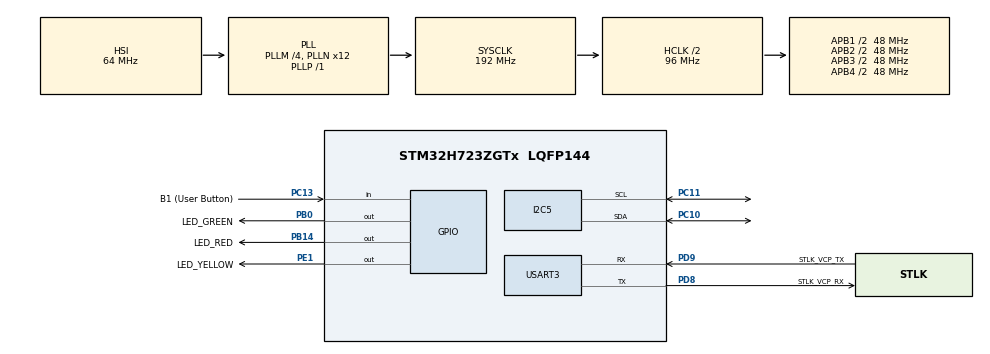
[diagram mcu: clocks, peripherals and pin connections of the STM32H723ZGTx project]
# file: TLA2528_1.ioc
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CORTEX_M7.default_mode_Activation=1
I2C5.Timing=0x20303E5D
Mcu.Family=STM32H7
Mcu.Name=STM32H723ZGTx
Mcu.Package=LQFP144
NVIC.I2C5_EV_IRQn=true\:0\:0\:false\:false\:true\:true\:true\:true
NVIC.PriorityGroup=NVIC_PRIORITYGROUP_4
PA13(JTMS/SWDIO).GPIO_Label=SWDIO
PA13(JTMS/SWDIO).Signal=DEBUG_JTMS-SWDIO
PA14(JTCK/SWCLK).GPIO_Label=SWCLK
PA14(JTCK/SWCLK).Signal=DEBUG_JTCK-SWCLK
PB0.GPIO_Label=LED_GREEN
PB0.Signal=GPIO_Output
PB14.GPIO_Label=LED_RED
PB14.Signal=GPIO_Output
PC10.GPIO_Pu=GPIO_PULLUP
PC10.Mode=I2C
PC10.Signal=I2C5_SDA
PC11.GPIO_Pu=GPIO_PULLUP
PC11.Mode=I2C
PC11.Signal=I2C5_SCL
PC13.GPIO_Label=B1 (User Button)
PC13.Signal=GPIO_Input
PC14-OSC32_IN.Signal=RCC_OSC32_IN
PC15-OSC32_OUT.Signal=RCC_OSC32_OUT
PD8.GPIO_Label=STLK_VCP_RX
PD8.Mode=Asynchronous
PD8.Signal=USART3_TX
PD9.GPIO_Label=STLK_VCP_TX
PD9.Mode=Asynchronous
PD9.Signal=USART3_RX
PE1.GPIO_Label=LED_YELLOW
PE1.Signal=GPIO_Output
ProjectManager.HeapSize=0x200
ProjectManager.StackSize=0x400
ProjectManager.TargetToolchain=STM32CubeIDE
RCC.ADCFreq_Value=608000000
RCC.APB1Freq_Value=48000000
RCC.APB2Freq_Value=48000000
RCC.APB3Freq_Value=48000000
RCC.APB4Freq_Value=48000000
RCC.CortexFreq_Value=192000000
RCC.D1PPRE=RCC_APB3_DIV2
RCC.D2PPRE1=RCC_APB1_DIV2
RCC.D2PPRE2=RCC_APB2_DIV2
RCC.D3PPRE=RCC_APB4_DIV2
RCC.DIVM1=4
RCC.DIVM2=1
RCC.DIVN1=12
RCC.DIVN2=19
RCC.DIVP1=1
RCC.DIVQ1=4
RCC.HCLKFreq_Value=96000000
RCC.HPRE=RCC_HCLK_DIV2
RCC.HSE_VALUE=8000000
RCC.PLLFRACN=0
RCC.SYSCLKFreq_VALUE=192000000
RCC.SYSCLKSource=RCC_SYSCLKSOURCE_PLLCLK
RCC.USBCLockSelection=RCC_USBCLKSOURCE_HSI48
RCC.USBFreq_Value=48000000
USART3.VirtualMode-Asynchronous=VM_ASYNC
VP_MEMORYMAP_VS_MEMORYMAP.Mode=CurAppReg
board=NUCLEO-H723ZG

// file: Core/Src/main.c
/* USER CODE BEGIN Header */
/**
 ******************************************************************************
 * @file           : main.c
 * @brief          : Main program body
 ******************************************************************************
 * @attention
 *
 * Copyright (c) 2025 STMicroelectronics.
 * All rights reserved.
 *
 * This software is licensed under terms that can be found in the LICENSE file
 * in the root directory of this software component.
 * If no LICENSE file comes with this software, it is provided AS-IS.
 *
 ******************************************************************************
 */
/* USER CODE END Header */
#include "main.h"
#include "stdio.h"
/* USER CODE BEGIN Includes */
#include "tla2528_lib.h"
#include "string.h"
/* USER CODE END Includes */

I2C_HandleTypeDef hi2c5;

UART_HandleTypeDef huart3;

/* USER CODE BEGIN PV */
int _write(int file, char *ptr, int len) {
	HAL_UART_Transmit(&huart3, (uint8_t*) ptr, len, HAL_MAX_DELAY);
	return len;
}
/* USER CODE END PV */

void SystemClock_Config(void);
static void MPU_Config(void);
static void MX_GPIO_Init(void);
static void MX_USART3_UART_Init(void);
static void MX_I2C5_Init(void);

/* USER CODE BEGIN 0 */
void check_i2c_connected(void) {
	if (HAL_I2C_IsDeviceReady(&hi2c5, 0x10 << 1, 3, HAL_MAX_DELAY) != HAL_OK) {
		printf("TLA2528 Not Found!\r\n");
	} else {
		printf("TLA2528 Detected!\r\n");
	}
}

void Print_Binary(uint8_t value) {
    for (int i = 7; i >= 0; i--) {
        printf("%d", (value >> i) & 1);
    }
}
void Read_Register_And_Print(uint8_t reg_address) {
    uint8_t reg_value = TLA2528_Read_Register(reg_address);  // อ่านค่าจากรีจิสเตอร์
    printf("Register 0x%02X Value: 0x%02X\n", reg_address, reg_value);
    printf("Binary Representation: ");
    Print_Binary(reg_value);
    printf("\n");
}
/* USER CODE END 0 */

int main(void) {

	/* MPU Configuration--------------------------------------------------------*/
	MPU_Config();

	/* MCU Configuration--------------------------------------------------------*/

	/* Reset of all peripherals, Initializes the Flash interface and the Systick. */
	HAL_Init();

	/* Configure the system clock */
	SystemClock_Config();

	/* Initialize all configured peripherals */
	MX_GPIO_Init();
	MX_USART3_UART_Init();
	MX_I2C5_Init();
	/* USER CODE BEGIN 2 */
	check_i2c_connected();
	HAL_Delay(1000);
	TLA2528_Init();
	//TLA2528_Reset_System();

	//HAL_Delay(6000);
	//TLA2528_Init();
	/* USER CODE END 2 */

	/* Infinite loop */
	/* USER CODE BEGIN WHILE */
	while (1) {

	   // Read_Register_And_Print(0x00);//(SYSTEM_STATUS)
//	    Read_Register_And_Print(GENERAL_CFG_ADDRESS); // GENERAL_CFG

//		  uint8_t reg_value = TLA2528_Read_Register(0x00);  // อ่านค่าจากรีจิสเตอร์ 0x00
//		    printf("Register 0x00 (SYSTEM_STATUS) Value: 0x%02X\n", reg_value);
//		    printf("Binary Representation: ");
//		    Print_Binary(reg_value);
//		    printf("\n");

		//uint8_t ch=0;
		//uint16_t adc_value = TLA2528_Read_Channel(ch);  // อ่านค่าช่อง 3
		//printf("AIN %X Value: %u\r\n", ch,adc_value);

		TLA2528_Read_All_Channels();  // อ่านค่าทุกช่อง

		/* USER CODE END WHILE */
		//uint8_t status1 = TLA2528_Read_System_Status();
		//TLA2528_Print_System_Status(status1);
		//uint8_t general_cfg_value = TLA2528_Read_Register(GENERAL_CFG_ADDRESS);
		//printf("GENERAL_CFG (binary): %08b\n", general_cfg_value);
		//uint8_t data_cfg = TLA2528_Read_Register(DATA_CFG_ADDRESS);
		//printf("Data CFG (binary): %08b\n", data_cfg);
		//uint8_t osr_value = TLA2528_Read_Register(OSR_CFG_ADDRESS);
		//uint8_t osr_bits = osr_value & OSR_MASK; // ดึงเฉพาะ 3 บิตล่างสุด
		//printf("OSR_CFG (binary): %08b\n", osr_value);
		//printf("Current OSR setting: %d\n", osr_bits);
		//uint8_t data_cfg = TLA2528_Read_Register(DATA_CFG_ADDRESS);
		//printf("Data CFG (binary): %08b\n", data_cfg);
		//uint8_t osr_ofg = TLA2528_Read_Register(OSR_CFG_ADDRESS);
		//printf("OSR CFG (binary): %08b\n", osr_ofg);
//		uint8_t OPMODE_CFG = TLA2528_Read_Register(OPMODE_CFG_ADDRESS);
//		printf("OPMODE_CFG (binary): %08b\n", OPMODE_CFG);
//		uint8_t PIN_CFG = TLA2528_Read_Register(PIN_CFG_ADDRESS);
//		printf("PIN_CFG: %08b\n", PIN_CFG);
//		uint8_t GPIO_CFG  = TLA2528_Read_Register(GPIO_CFG_ADDRESS);
//		printf("GPIO_CFG : %08b\n", GPIO_CFG );
//		uint8_t GPO_DRIVE_CFG = TLA2528_Read_Register(GPO_DRIVE_CFG_ADDRESS);
//		printf("GPO_DRIVE_CFG : %08b\n", GPO_DRIVE_CFG );
//		uint8_t GPO_VALUE  = TLA2528_Read_Register(GPO_VALUE_ADDRESS);
//		printf("GPO_VALUE : %08b\n", GPO_VALUE );
		HAL_Delay(1000);

	}
}

void SystemClock_Config(void) {
	RCC_OscInitTypeDef RCC_OscInitStruct = { 0 };
	RCC_ClkInitTypeDef RCC_ClkInitStruct = { 0 };

	/** Supply configuration update enable
	 */
	HAL_PWREx_ConfigSupply(PWR_LDO_SUPPLY);

	/** Configure the main internal regulator output voltage
	 */
	__HAL_PWR_VOLTAGESCALING_CONFIG(PWR_REGULATOR_VOLTAGE_SCALE2);

	while (!__HAL_PWR_GET_FLAG(PWR_FLAG_VOSRDY)) {
	}

	/** Initializes the RCC Oscillators according to the specified parameters
	 * in the RCC_OscInitTypeDef structure.
	 */
	RCC_OscInitStruct.OscillatorType = RCC_OSCILLATORTYPE_HSI;
	RCC_OscInitStruct.HSIState = RCC_HSI_DIV1;
	RCC_OscInitStruct.HSICalibrationValue = 64;
	RCC_OscInitStruct.PLL.PLLState = RCC_PLL_ON;
	RCC_OscInitStruct.PLL.PLLSource = RCC_PLLSOURCE_HSI;
	RCC_OscInitStruct.PLL.PLLM = 4;
	RCC_OscInitStruct.PLL.PLLN = 12;
	RCC_OscInitStruct.PLL.PLLP = 1;
	RCC_OscInitStruct.PLL.PLLQ = 4;
	RCC_OscInitStruct.PLL.PLLR = 2;
	RCC_OscInitStruct.PLL.PLLRGE = RCC_PLL1VCIRANGE_3;
	RCC_OscInitStruct.PLL.PLLVCOSEL = RCC_PLL1VCOWIDE;
	RCC_OscInitStruct.PLL.PLLFRACN = 0;
	if (HAL_RCC_OscConfig(&RCC_OscInitStruct) != HAL_OK) {
		Error_Handler();
	}

	/** Initializes the CPU, AHB and APB buses clocks
	 */
	RCC_ClkInitStruct.ClockType = RCC_CLOCKTYPE_HCLK | RCC_CLOCKTYPE_SYSCLK
			| RCC_CLOCKTYPE_PCLK1 | RCC_CLOCKTYPE_PCLK2 | RCC_CLOCKTYPE_D3PCLK1
			| RCC_CLOCKTYPE_D1PCLK1;
	RCC_ClkInitStruct.SYSCLKSource = RCC_SYSCLKSOURCE_PLLCLK;
	RCC_ClkInitStruct.SYSCLKDivider = RCC_SYSCLK_DIV1;
	RCC_ClkInitStruct.AHBCLKDivider = RCC_HCLK_DIV2;
	RCC_ClkInitStruct.APB3CLKDivider = RCC_APB3_DIV2;
	RCC_ClkInitStruct.APB1CLKDivider = RCC_APB1_DIV2;
	RCC_ClkInitStruct.APB2CLKDivider = RCC_APB2_DIV2;
	RCC_ClkInitStruct.APB4CLKDivider = RCC_APB4_DIV2;

	if (HAL_RCC_ClockConfig(&RCC_ClkInitStruct, FLASH_LATENCY_1) != HAL_OK) {
		Error_Handler();
	}
}

static void MX_I2C5_Init(void) {

	hi2c5.Instance = I2C5;
	hi2c5.Init.Timing = 0x20303E5D;
	hi2c5.Init.OwnAddress1 = 0;
	hi2c5.Init.AddressingMode = I2C_ADDRESSINGMODE_7BIT;
	hi2c5.Init.DualAddressMode = I2C_DUALADDRESS_DISABLE;
	hi2c5.Init.OwnAddress2 = 0;
	hi2c5.Init.OwnAddress2Masks = I2C_OA2_NOMASK;
	hi2c5.Init.GeneralCallMode = I2C_GENERALCALL_DISABLE;
	hi2c5.Init.NoStretchMode = I2C_NOSTRETCH_DISABLE;
	if (HAL_I2C_Init(&hi2c5) != HAL_OK) {
		Error_Handler();
	}

	/** Configure Analogue filter
	 */
	if (HAL_I2CEx_ConfigAnalogFilter(&hi2c5, I2C_ANALOGFILTER_ENABLE)
			!= HAL_OK) {
		Error_Handler();
	}

	/** Configure Digital filter
	 */
	if (HAL_I2CEx_ConfigDigitalFilter(&hi2c5, 0) != HAL_OK) {
		Error_Handler();
	}

}

static void MX_USART3_UART_Init(void) {

	huart3.Instance = USART3;
	huart3.Init.BaudRate = 115200;
	huart3.Init.WordLength = UART_WORDLENGTH_8B;
	huart3.Init.StopBits = UART_STOPBITS_1;
	huart3.Init.Parity = UART_PARITY_NONE;
	huart3.Init.Mode = UART_MODE_TX_RX;
	huart3.Init.HwFlowCtl = UART_HWCONTROL_NONE;
	huart3.Init.OverSampling = UART_OVERSAMPLING_16;
	huart3.Init.OneBitSampling = UART_ONE_BIT_SAMPLE_DISABLE;
	huart3.Init.ClockPrescaler = UART_PRESCALER_DIV1;
	huart3.AdvancedInit.AdvFeatureInit = UART_ADVFEATURE_NO_INIT;
	if (HAL_UART_Init(&huart3) != HAL_OK) {
		Error_Handler();
	}
	if (HAL_UARTEx_SetTxFifoThreshold(&huart3, UART_TXFIFO_THRESHOLD_1_8)
			!= HAL_OK) {
		Error_Handler();
	}
	if (HAL_UARTEx_SetRxFifoThreshold(&huart3, UART_RXFIFO_THRESHOLD_1_8)
			!= HAL_OK) {
		Error_Handler();
	}
	if (HAL_UARTEx_DisableFifoMode(&huart3) != HAL_OK) {
		Error_Handler();
	}

}

static void MX_GPIO_Init(void) {
	GPIO_InitTypeDef GPIO_InitStruct = { 0 };

	/* GPIO Ports Clock Enable */
	__HAL_RCC_GPIOC_CLK_ENABLE();
	__HAL_RCC_GPIOB_CLK_ENABLE();
	__HAL_RCC_GPIOD_CLK_ENABLE();
	__HAL_RCC_GPIOA_CLK_ENABLE();
	__HAL_RCC_GPIOE_CLK_ENABLE();

	/*Configure GPIO pin Output Level */
	HAL_GPIO_WritePin(GPIOB, LED_GREEN_Pin | LED_RED_Pin, GPIO_PIN_RESET);

	/*Configure GPIO pin Output Level */
	HAL_GPIO_WritePin(LED_YELLOW_GPIO_Port, LED_YELLOW_Pin, GPIO_PIN_RESET);

	/*Configure GPIO pin : B1_Pin */
	GPIO_InitStruct.Pin = B1_Pin;
	GPIO_InitStruct.Mode = GPIO_MODE_INPUT;
	GPIO_InitStruct.Pull = GPIO_NOPULL;
	HAL_GPIO_Init(B1_GPIO_Port, &GPIO_InitStruct);

	/*Configure GPIO pins : LED_GREEN_Pin LED_RED_Pin */
	GPIO_InitStruct.Pin = LED_GREEN_Pin | LED_RED_Pin;
	GPIO_InitStruct.Mode = GPIO_MODE_OUTPUT_PP;
	GPIO_InitStruct.Pull = GPIO_NOPULL;
	GPIO_InitStruct.Speed = GPIO_SPEED_FREQ_LOW;
	HAL_GPIO_Init(GPIOB, &GPIO_InitStruct);

	/*Configure GPIO pin : LED_YELLOW_Pin */
	GPIO_InitStruct.Pin = LED_YELLOW_Pin;
	GPIO_InitStruct.Mode = GPIO_MODE_OUTPUT_PP;
	GPIO_InitStruct.Pull = GPIO_NOPULL;
	GPIO_InitStruct.Speed = GPIO_SPEED_FREQ_LOW;
	HAL_GPIO_Init(LED_YELLOW_GPIO_Port, &GPIO_InitStruct);

}

/* MPU Configuration */

void MPU_Config(void) {
	MPU_Region_InitTypeDef MPU_InitStruct = { 0 };

	/* Disables the MPU */
	HAL_MPU_Disable();

	/** Initializes and configures the Region and the memory to be protected
	 */
	MPU_InitStruct.Enable = MPU_REGION_ENABLE;
	MPU_InitStruct.Number = MPU_REGION_NUMBER0;
	MPU_InitStruct.BaseAddress = 0x0;
	MPU_InitStruct.Size = MPU_REGION_SIZE_4GB;
	MPU_InitStruct.SubRegionDisable = 0x87;
	MPU_InitStruct.TypeExtField = MPU_TEX_LEVEL0;
	MPU_InitStruct.AccessPermission = MPU_REGION_NO_ACCESS;
	MPU_InitStruct.DisableExec = MPU_INSTRUCTION_ACCESS_DISABLE;
	MPU_InitStruct.IsShareable = MPU_ACCESS_SHAREABLE;
	MPU_InitStruct.IsCacheable = MPU_ACCESS_NOT_CACHEABLE;
	MPU_InitStruct.IsBufferable = MPU_ACCESS_NOT_BUFFERABLE;

	HAL_MPU_ConfigRegion(&MPU_InitStruct);
	/* Enables the MPU */
	HAL_MPU_Enable(MPU_PRIVILEGED_DEFAULT);

}

void Error_Handler(void) {
	__disable_irq();
	while (1) {
	}
}
